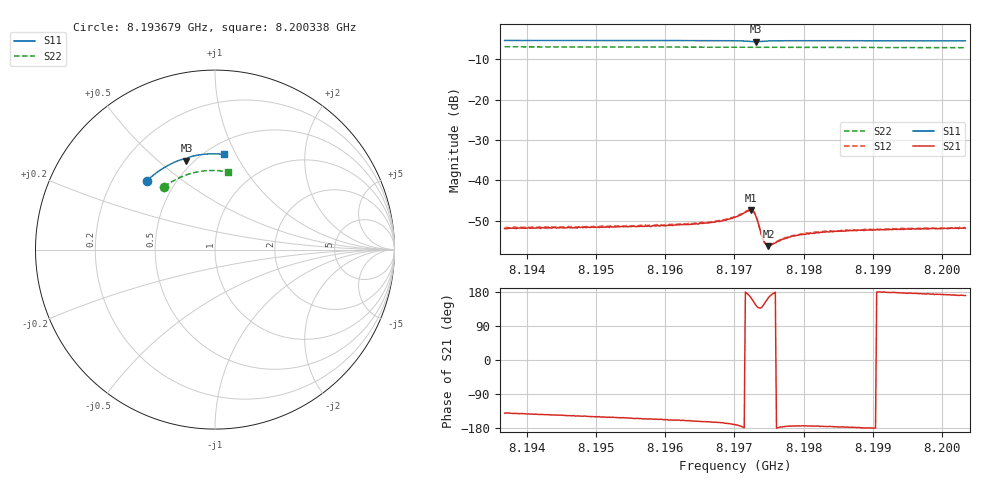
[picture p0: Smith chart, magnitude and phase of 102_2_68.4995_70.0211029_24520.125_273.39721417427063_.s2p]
#  HZ  S  RI  R  50.00
! Rohde & Schwarz Vector Network Analyzer
! Rohde-Schwarz,ZNB20-2Port,1311601062101988,3.16
! Created: UTC 3/20/2024, 4:53:06 PM
! freq[Hz]  re:S11  im:S11  re:S21  im:S21  re:S12  im:S12  re:S22  im:S22
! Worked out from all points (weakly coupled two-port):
!   401 points, 8.193679 GHz to 8.200338 GHz, reference 50 ohm
!   highest |S21| = -47.40 dB at 8.197241 GHz (marker M1); lowest = -56.3 dB at 8.197491 GHz (marker M2)
!   lowest |S11| = -5.7 dB at 8.197308 GHz (marker M3), VSWR 3.16, Z = 23 + j31.2 ohm
!   |S11| at or under -10 dB: nowhere
!   |S22| runs from -7.2 to -6.9 dB; largest |S21 - S12| = 0.00022
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8.1936785e9  -0.3801 0.3822  -0.00195 -0.00161  -0.00206 -0.0016  -0.2833 0.3492
8.194794e9  -0.3198 0.4329  -0.00225 -0.00138  -0.00233 -0.00134  -0.2316 0.3837
8.1959094e9  -0.2525 0.4743  -0.0025 -0.00107  -0.0026 -0.00102  -0.1753 0.4106
8.1966419e9  -0.2042 0.4959  -0.00287 -0.000865  -0.00295 -0.000784  -0.1364 0.4238
8.1968251e9  -0.1909 0.5002  -0.00306 -0.000788  -0.00316 -0.000677  -0.1265 0.4264
8.1970082e9  -0.1767 0.5042  -0.00345 -0.000579  -0.0035 -0.000445  -0.1165 0.4291
8.1971913e9  -0.1601 0.5026  -0.00414 0.000415  -0.00421 0.000597  -0.1063 0.4312
8.1972413e9  -0.157 0.499  -0.0041 0.00118  -0.00412 0.0014  -0.1037 0.4317
8.1972746e9  -0.1571 0.496  -0.00371 0.00173  -0.00371 0.00193  -0.1019 0.4319
8.1973079e9  -0.159 0.4947  -0.00299 0.00209  -0.00295 0.00225  -0.1002 0.4323
8.1973412e9  -0.1614 0.4959  -0.00225 0.00199  -0.00222 0.00209  -0.0986 0.4327
8.1973911e9  -0.1622 0.5004  -0.00157 0.00139  -0.00153 0.00146  -0.0959 0.4332
8.1974244e9  -0.1609 0.5037  -0.00147 0.000971  -0.00144 0.00104  -0.094 0.4338
8.1974577e9  -0.1588 0.5061  -0.00147 0.000659  -0.00144 0.000749  -0.0922 0.4342
8.197491e9  -0.1563 0.5084  -0.00148 0.00041  -0.00148 0.0005  -0.0902 0.4346
8.1975243e9  -0.1538 0.5101  -0.00154 0.000263  -0.00157 0.000336  -0.0884 0.4348
8.1976908e9  -0.1407 0.5159  -0.00186 -0.000108  -0.00189 -6.08e-05  -0.0791 0.4363
8.1978073e9  -0.1321 0.5185  -0.00198 -0.000212  -0.00204 -0.000142  -0.0726 0.4374
8.1981236e9  -0.1089 0.5239  -0.00219 -0.00023  -0.0023 -0.000147  -0.0549 0.4394
8.1984732e9  -0.084 0.5283  -0.00234 -0.000146  -0.00236 -6.36e-05  -0.0352 0.4408
8.1992391e9  -0.0296 0.5334  -0.00245 8.58e-05  -0.00251 0.000178  0.0082 0.4407
8.2003378e9  0.0481 0.5307  -0.00252 0.000441  -0.00253 0.000548  0.07 0.433
